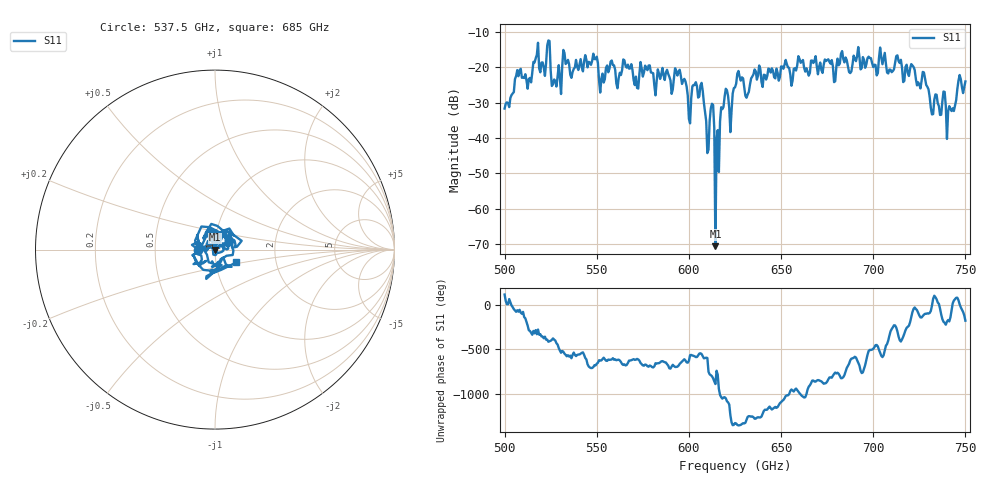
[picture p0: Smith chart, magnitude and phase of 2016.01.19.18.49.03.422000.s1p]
!Created with skrf (http://scikit-rf.org).
# GHz S RI R 50.0
!freq ReS11 ImS11
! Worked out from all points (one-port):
!   401 points, 500 GHz to 750 GHz, reference 50 ohm
!   lowest |S11| = -70.6 dB at 614.4 GHz (marker M1), VSWR 1.00, Z = 50 - j0.0036 ohm
!   |S11| at or under -10 dB: start of sweep to end of sweep
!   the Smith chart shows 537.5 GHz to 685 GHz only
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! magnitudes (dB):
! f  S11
! 500 GHz  -31.7
! 507.5 GHz  -22.5
! 513.8 GHz  -23.0
! 516.9 GHz  -17.4
! 523.8 GHz  -12.4
! 526.9 GHz  -23.4
! 531.2 GHz  -19.8
! 548.8 GHz  -17.6
! 552.5 GHz  -23.1
! 558.1 GHz  -18.0
! 562.5 GHz  -21.5
! 593.8 GHz  -22.3
! 600 GHz  -34.6
! 606.9 GHz  -24.4
! 610 GHz  -44.3
! 612.5 GHz  -30.3
! 614.4 GHz  -70.6
! 615.6 GHz  -37.8
! 616.2 GHz  -49.6
! 618.8 GHz  -31.2
! 623.1 GHz  -32.3
! 625 GHz  -25.7
! 656.2 GHz  -23.7
! 660.6 GHz  -18.7
! 687.5 GHz  -21.6
! 718.8 GHz  -21.6
! 741.2 GHz  -31.0
! 750 GHz  -24.0
